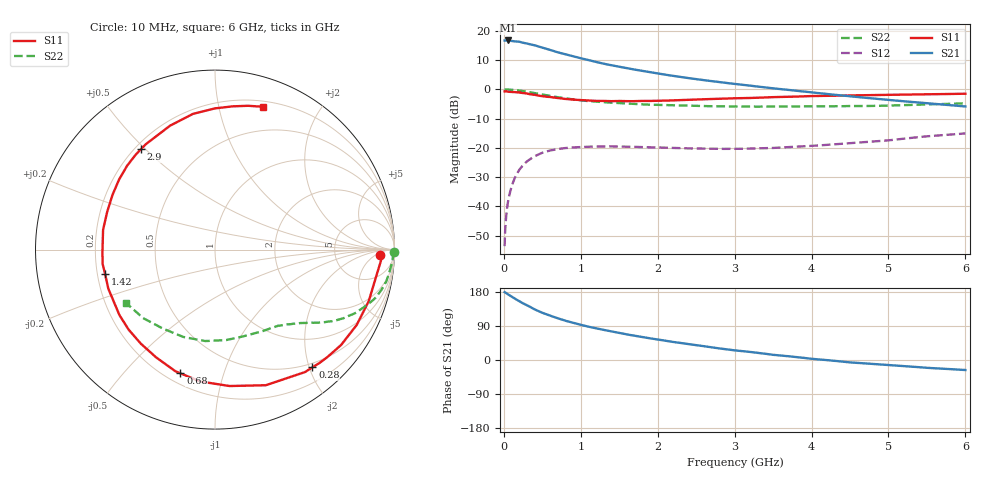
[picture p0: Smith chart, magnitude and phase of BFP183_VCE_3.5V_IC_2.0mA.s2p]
! Infineon Technologies  Discrete & RF Semiconductors
! BFP183
! VCE = 3.5 V,  IC =  2.0 mA
! Common Emitter S-Parameters:  Jan 2016
# GHz  S  MA  R  50
!  f  S11  S21  S12  S22
! GHz  MAG  ANG  MAG  ANG  MAG  ANG  MAG  ANG
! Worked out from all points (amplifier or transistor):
!   210 points, 10 MHz to 6 GHz, reference 50 ohm
!   highest |S21| = 16.7 dB at 50 MHz (marker M1)
!   |S21| within 3 dB of that: start of sweep to 571.4 MHz
!   unconditionally stable (mu >= 1): 2.09 GHz to 5.957 GHz
!   at 185 MHz: K = 0.10, MSG = 22.2 dB, |S12| = -28.2 dB
!   at 1.52 GHz: K = 0.72, MSG = 13.6 dB, |S12| = -19.6 dB
!   at 6 GHz: K = 0.99, MSG = 4.6 dB, |S12| = -15.1 dB
!   S11 on the Smith chart (normalised r, x): 10 MHz: 21, -8; 280 MHz: 0.43, -2.05; 680 MHz: 0.26, -0.73; 1.42 GHz: 0.23, -0.10; 2.9 GHz: 0.22, +0.48; 6 GHz: 0.25, +1.36
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0.01  0.9211 -1.9  6.777 179.0  0.0021 83.5  0.9991 -0.7
0.025  0.9234 -4.8  6.799 177.3  0.0056 85.5  0.9926 -1.8
0.05  0.91 -9.6  6.813 173.7  0.0112 86.4  0.991 -3.5
0.115  0.8981 -21.3  6.642 165.6  0.0248 77.4  0.9776 -8.0
0.2  0.8809 -37.1  6.489 155.1  0.0421 69.0  0.9535 -13.7
0.28  0.8517 -50.4  6.109 146.5  0.0554 61.9  0.9184 -18.3
0.4  0.8068 -69.5  5.638 133.6  0.0721 52.2  0.8611 -24.1
0.5  0.7644 -83.9  5.144 124.6  0.0825 45.0  0.8116 -28.1
0.6  0.7392 -96.4  4.707 117.1  0.0902 39.5  0.7701 -31.1
0.68  0.7158 -105.6  4.361 111.6  0.0944 35.5  0.7397 -33.0
0.8  0.6843 -118.6  3.978 103.7  0.0993 30.3  0.7004 -35.6
1.02  0.6528 -138.9  3.339 91.8  0.1035 23.2  0.6438 -39.4
1.2  0.6338 -152.9  2.923 83.6  0.1055 18.6  0.6146 -42.1
1.42  0.6272 -167.7  2.536 74.5  0.1059 15.0  0.588 -45.0
1.78  0.6317 171.0  2.084 61.1  0.1033 11.5  0.5527 -50.1
2.02  0.637 159.7  1.838 53.4  0.1015 10.3  0.5401 -53.5
2.4  0.6619 143.8  1.552 41.9  0.098 10.2  0.5251 -60.3
2.9  0.6949 126.5  1.28 28.1  0.096 12.8  0.5097 -69.9
3.1  0.7056 120.5  1.194 23.5  0.0965 14.4  0.5068 -74.2
4.1  0.7686 97.3  0.859 1.5  0.1101 22.3  0.5111 -98.9
5.1  0.8073 81.7  0.641 -14.7  0.139 25.9  0.5301 -126.1
6  0.8396 71.4  0.509 -26.5  0.1764 20.9  0.5776 -149.0
